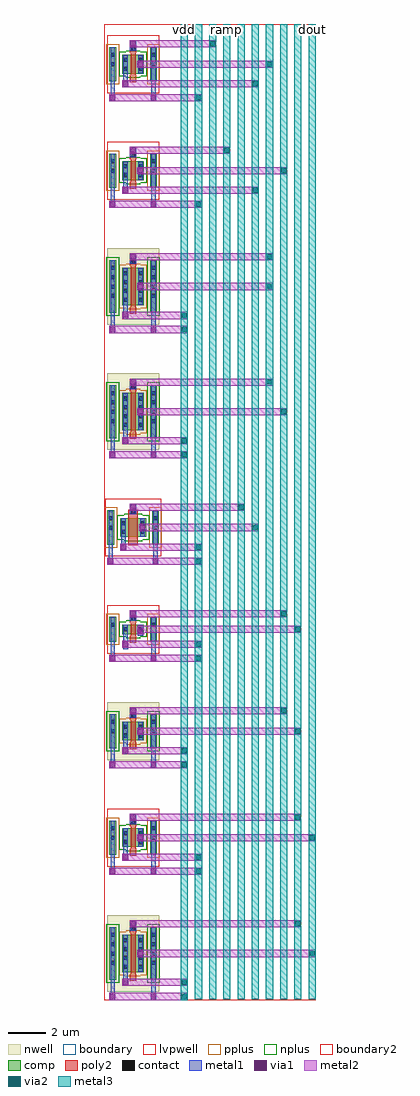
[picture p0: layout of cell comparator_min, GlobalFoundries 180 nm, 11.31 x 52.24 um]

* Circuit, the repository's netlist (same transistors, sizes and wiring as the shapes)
* Schematic-side reference for LVS of the minimum-size per-cell comparator.
.subckt comparator_min sample ramp bias dout vdd vss
XINP left sample tail vss nfet_03v3 L=0.28u W=1u nf=1 m=1
XINN outa ramp tail vss nfet_03v3 L=0.28u W=1u nf=1 m=1
XLOADD left left vdd vdd pfet_03v3 L=0.28u W=2u nf=1 m=1
XLOADM outa left vdd vdd pfet_03v3 L=0.28u W=2u nf=1 m=1
XTAIL tail bias vss vss nfet_03v3 L=0.5u W=1u nf=1 m=1
XBUF1 outb outa vss vss nfet_03v3 L=0.28u W=0.5u nf=1 m=1
XBUF2 outb outa vdd vdd pfet_03v3 L=0.28u W=1u nf=1 m=1
XBUF3 dout outb vss vss nfet_03v3 L=0.28u W=1u nf=1 m=1
XBUF4 dout outb vdd vdd pfet_03v3 L=0.28u W=2u nf=1 m=1
.ends comparator_min

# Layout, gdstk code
import gdstk
lib = gdstk.Library(unit=1e-6, precision=1e-09)
def R(c, l, rs):  # rectangles x0, y0, x1, y1
    for r in rs: c.add(gdstk.rectangle(r[:2], r[2:], *l))
def A(c, l, x, y, w, h, nx, ny, dx, dy):  # array of equal rectangles
    R(c, l, [(x+i*dx, y+j*dy, x+i*dx+w, y+j*dy+h) for i in range(nx) for j in range(ny)])
def P(c, l, *ps):  # polygons
    for p in ps: c.add(gdstk.Polygon(p, *l))
boundary = (0, 0)
nwell = (21, 0)
comp = (22, 0)
poly2 = (30, 0)
pplus = (31, 0)
nplus = (32, 0)
contact = (33, 0)
metal1 = (34, 0)
via1 = (35, 0)
metal2 = (36, 0)
via2 = (38, 0)
metal3 = (42, 0)
boundary2 = (63, 0)
lvpwell = (204, 0)

comparator_min = lib.new_cell('comparator_min')
R(comparator_min, boundary, [(0,0,11.31,52.24)])
R(comparator_min, nwell, [(0.15,0.44,2.93,4.54), (0.15,12.84,2.93,15.94), (0.15,29.44,2.93,33.54), (0.15,36.14,2.93,40.24)])
R(comparator_min, comp, [(0.27,1.075,0.63,3.905), (2.45,1.075,2.81,3.905), (0.96,1.49,2.12,3.49), (0.27,7.775,0.63,9.605), (2.45,7.775,2.81,9.605), (0.96,8.19,2.12,9.19), (0.27,13.475,0.63,15.305), (2.45,13.475,2.81,15.305), (0.96,13.89,2.12,14.89), (0.27,19.175,0.63,20.505), (2.45,19.175,2.81,20.505), (0.96,19.59,2.12,20.09), (0.16,24.375,0.52,26.205), (2.56,24.375,2.92,26.205), (0.85,24.79,2.23,25.79), (0.27,30.075,0.63,32.905), (2.45,30.075,2.81,32.905), (0.96,30.49,2.12,32.49), (0.27,36.775,0.63,39.605), (2.45,36.775,2.81,39.605), (0.96,37.19,2.12,39.19), (0.27,43.475,0.63,45.305), (2.45,43.475,2.81,45.305), (0.96,43.89,2.12,44.89), (0.27,49.175,0.63,51.005), (2.45,49.175,2.81,51.005), (0.96,49.59,2.12,50.59)])
P(comparator_min, poly2, [(1.36,1.03),(1.36,1.39),(1.4,1.39),(1.4,3.59),(1.36,3.59),(1.36,3.99),(1.72,3.99),(1.72,3.59),(1.68,3.59),(1.68,1.39),(1.72,1.39),(1.72,1.03)],
  [(1.36,7.73),(1.36,8.09),(1.4,8.09),(1.4,9.29),(1.36,9.29),(1.36,9.69),(1.72,9.69),(1.72,9.29),(1.68,9.29),(1.68,8.09),(1.72,8.09),(1.72,7.73)],
  [(1.36,13.43),(1.36,13.79),(1.4,13.79),(1.4,14.99),(1.36,14.99),(1.36,15.39),(1.72,15.39),(1.72,14.99),(1.68,14.99),(1.68,13.79),(1.72,13.79),(1.72,13.43)],
  [(1.36,19.13),(1.36,19.49),(1.4,19.49),(1.4,20.19),(1.36,20.19),(1.36,20.59),(1.72,20.59),(1.72,20.19),(1.68,20.19),(1.68,19.49),(1.72,19.49),(1.72,19.13)],
  [(1.29,24.33),(1.29,26.25),(1.36,26.25),(1.36,26.29),(1.72,26.29),(1.72,26.25),(1.79,26.25),(1.79,24.33)],
  [(1.36,30.03),(1.36,30.39),(1.4,30.39),(1.4,32.59),(1.36,32.59),(1.36,32.99),(1.72,32.99),(1.72,32.59),(1.68,32.59),(1.68,30.39),(1.72,30.39),(1.72,30.03)],
  [(1.36,36.73),(1.36,37.09),(1.4,37.09),(1.4,39.29),(1.36,39.29),(1.36,39.69),(1.72,39.69),(1.72,39.29),(1.68,39.29),(1.68,37.09),(1.72,37.09),(1.72,36.73)],
  [(1.36,43.43),(1.36,43.79),(1.4,43.79),(1.4,44.99),(1.36,44.99),(1.36,45.39),(1.72,45.39),(1.72,44.99),(1.68,44.99),(1.68,43.79),(1.72,43.79),(1.72,43.43)],
  [(1.36,49.13),(1.36,49.49),(1.4,49.49),(1.4,50.69),(1.36,50.69),(1.36,51.09),(1.72,51.09),(1.72,50.69),(1.68,50.69),(1.68,49.49),(1.72,49.49),(1.72,49.13)])
R(comparator_min, pplus, [(0.11,7.615,0.79,9.765), (2.29,7.615,2.97,9.765), (0.11,19.015,0.79,20.665), (2.29,19.015,2.97,20.665), (0,24.215,0.68,26.365), (2.4,24.215,3.08,26.365), (0.11,43.315,0.79,45.465), (2.29,43.315,2.97,45.465), (0.11,49.015,0.79,51.165), (2.29,49.015,2.97,51.165)])
P(comparator_min, pplus, [(1.17,1.26),(1.17,1.33),(0.8,1.33),(0.8,3.65),(1.17,3.65),(1.17,3.72),(1.91,3.72),(1.91,3.65),(2.28,3.65),(2.28,1.33),(1.91,1.33),(1.91,1.26)],
  [(1.17,13.66),(1.17,13.73),(0.8,13.73),(0.8,15.05),(1.17,15.05),(1.17,15.12),(1.91,15.12),(1.91,15.05),(2.28,15.05),(2.28,13.73),(1.91,13.73),(1.91,13.66)],
  [(1.17,30.26),(1.17,30.33),(0.8,30.33),(0.8,32.65),(1.17,32.65),(1.17,32.72),(1.91,32.72),(1.91,32.65),(2.28,32.65),(2.28,30.33),(1.91,30.33),(1.91,30.26)],
  [(1.17,36.96),(1.17,37.03),(0.8,37.03),(0.8,39.35),(1.17,39.35),(1.17,39.42),(1.91,39.42),(1.91,39.35),(2.28,39.35),(2.28,37.03),(1.91,37.03),(1.91,36.96)])
R(comparator_min, nplus, [(0.11,0.915,0.79,4.065), (2.29,0.915,2.97,4.065), (0.11,13.315,0.79,15.465), (2.29,13.315,2.97,15.465), (0.11,29.915,0.79,33.065), (2.29,29.915,2.97,33.065), (0.11,36.615,0.79,39.765), (2.29,36.615,2.97,39.765)])
P(comparator_min, nplus, [(1.17,7.96),(1.17,8.03),(0.8,8.03),(0.8,9.35),(1.17,9.35),(1.17,9.42),(1.91,9.42),(1.91,9.35),(2.28,9.35),(2.28,8.03),(1.91,8.03),(1.91,7.96)],
  [(1.17,19.36),(1.17,19.43),(0.8,19.43),(0.8,20.25),(1.17,20.25),(1.17,20.32),(1.91,20.32),(1.91,20.25),(2.28,20.25),(2.28,19.43),(1.91,19.43),(1.91,19.36)],
  [(1.06,24.56),(1.06,24.63),(0.69,24.63),(0.69,25.95),(1.06,25.95),(1.06,26.02),(2.02,26.02),(2.02,25.95),(2.39,25.95),(2.39,24.63),(2.02,24.63),(2.02,24.56)],
  [(1.17,43.66),(1.17,43.73),(0.8,43.73),(0.8,45.05),(1.17,45.05),(1.17,45.12),(1.91,45.12),(1.91,45.05),(2.28,45.05),(2.28,43.73),(1.91,43.73),(1.91,43.66)],
  [(1.17,49.36),(1.17,49.43),(0.8,49.43),(0.8,50.75),(1.17,50.75),(1.17,50.82),(1.91,50.82),(1.91,50.75),(2.28,50.75),(2.28,49.43),(1.91,49.43),(1.91,49.36)])
A(comparator_min, contact, 1.03, 1.675, 0.22, 0.22, 1, 4, 0, 0.47)
A(comparator_min, contact, 1.83, 1.675, 0.22, 0.22, 1, 4, 0, 0.47)
A(comparator_min, contact, 0.34, 1.875, 0.22, 0.22, 1, 4, 0, 0.5)
A(comparator_min, contact, 2.52, 1.875, 0.22, 0.22, 1, 4, 0, 0.5)
A(comparator_min, contact, 1.43, 3.7, 0.22, 0.22, 1, 3, 0, 5.7)
A(comparator_min, contact, 1.43, 26, 0.22, 0.22, 1, 3, 0, 6.7)
A(comparator_min, contact, 1.03, 30.675, 0.22, 0.22, 1, 4, 0, 0.47)
A(comparator_min, contact, 1.83, 30.675, 0.22, 0.22, 1, 4, 0, 0.47)
A(comparator_min, contact, 0.34, 30.875, 0.22, 0.22, 1, 4, 0, 0.5)
A(comparator_min, contact, 2.52, 30.875, 0.22, 0.22, 1, 4, 0, 0.5)
A(comparator_min, contact, 1.03, 37.375, 0.22, 0.22, 1, 4, 0, 0.47)
A(comparator_min, contact, 1.83, 37.375, 0.22, 0.22, 1, 4, 0, 0.47)
A(comparator_min, contact, 0.34, 37.575, 0.22, 0.22, 1, 4, 0, 0.5)
A(comparator_min, contact, 2.52, 37.575, 0.22, 0.22, 1, 4, 0, 0.5)
R(comparator_min, contact, [(1.03,8.345,1.25,8.565), (1.83,8.345,2.05,8.565), (0.34,8.575,0.56,8.795), (2.52,8.575,2.74,8.795), (1.03,8.815,1.25,9.035), (1.83,8.815,2.05,9.035), (0.34,9.075,0.56,9.295), (2.52,9.075,2.74,9.295), (1.03,14.045,1.25,14.265), (1.83,14.045,2.05,14.265), (0.34,14.275,0.56,14.495), (2.52,14.275,2.74,14.495), (1.03,14.515,1.25,14.735), (1.83,14.515,2.05,14.735), (0.34,14.775,0.56,14.995), (2.52,14.775,2.74,14.995), (1.03,19.73,1.25,19.95), (1.83,19.73,2.05,19.95), (0.34,19.975,0.56,20.195), (2.52,19.975,2.74,20.195), (1.43,20.3,1.65,20.52), (0.92,24.945,1.14,25.165), (1.94,24.945,2.16,25.165), (0.23,25.175,0.45,25.395), (2.63,25.175,2.85,25.395), (0.92,25.415,1.14,25.635), (1.94,25.415,2.16,25.635), (0.23,25.675,0.45,25.895), (2.63,25.675,2.85,25.895), (1.03,44.045,1.25,44.265), (1.83,44.045,2.05,44.265), (0.34,44.275,0.56,44.495), (2.52,44.275,2.74,44.495), (1.03,44.515,1.25,44.735), (1.83,44.515,2.05,44.735), (0.34,44.775,0.56,44.995), (2.52,44.775,2.74,44.995), (1.43,45.1,1.65,45.32), (1.03,49.745,1.25,49.965), (1.83,49.745,2.05,49.965), (0.34,49.975,0.56,50.195), (2.52,49.975,2.74,50.195), (1.03,50.215,1.25,50.435), (1.83,50.215,2.05,50.435), (0.34,50.475,0.56,50.695), (2.52,50.475,2.74,50.695), (1.43,50.8,1.65,51.02)])
P(comparator_min, metal1, [(1,0.75),(1,1.13),(1.025,1.13),(1.025,3.48),(1.255,3.48),(1.255,1.13),(1.28,1.13),(1.28,0.75)],
  [(1.825,1.5),(1.825,2.3),(1.8,2.3),(1.8,2.68),(1.825,2.68),(1.825,3.48),(2.055,3.48),(2.055,2.68),(2.08,2.68),(2.08,2.3),(2.055,2.3),(2.055,1.5)],
  [(0.31,0),(0.31,0.38),(0.335,0.38),(0.335,3.895),(0.565,3.895),(0.565,0.38),(0.59,0.38),(0.59,0)],
  [(2.49,0),(2.49,0.38),(2.515,0.38),(2.515,3.895),(2.745,3.895),(2.745,0.38),(2.77,0.38),(2.77,0)],
  [(1.37,3.695),(1.37,4.195),(1.4,4.195),(1.4,4.265),(1.68,4.265),(1.68,4.195),(1.71,4.195),(1.71,3.695)],
  [(1,7.45),(1,7.83),(1.025,7.83),(1.025,9.18),(1.255,9.18),(1.255,7.83),(1.28,7.83),(1.28,7.45)],
  [(1.825,8.2),(1.825,8.5),(1.8,8.5),(1.8,8.88),(1.825,8.88),(1.825,9.18),(2.055,9.18),(2.055,8.88),(2.08,8.88),(2.08,8.5),(2.055,8.5),(2.055,8.2)],
  [(0.31,6.7),(0.31,7.08),(0.335,7.08),(0.335,9.595),(0.565,9.595),(0.565,7.08),(0.59,7.08),(0.59,6.7)],
  [(2.49,6.7),(2.49,7.08),(2.515,7.08),(2.515,9.595),(2.745,9.595),(2.745,7.08),(2.77,7.08),(2.77,6.7)],
  [(1.37,9.395),(1.37,9.895),(1.4,9.895),(1.4,9.965),(1.68,9.965),(1.68,9.895),(1.71,9.895),(1.71,9.395)],
  [(1,13.15),(1,13.53),(1.025,13.53),(1.025,14.88),(1.255,14.88),(1.255,13.53),(1.28,13.53),(1.28,13.15)],
  [(1.825,13.9),(1.825,14.2),(1.8,14.2),(1.8,14.58),(1.825,14.58),(1.825,14.88),(2.055,14.88),(2.055,14.58),(2.08,14.58),(2.08,14.2),(2.055,14.2),(2.055,13.9)],
  [(0.31,12.4),(0.31,12.78),(0.335,12.78),(0.335,15.295),(0.565,15.295),(0.565,12.78),(0.59,12.78),(0.59,12.4)],
  [(2.49,12.4),(2.49,12.78),(2.515,12.78),(2.515,15.295),(2.745,15.295),(2.745,12.78),(2.77,12.78),(2.77,12.4)],
  [(1.37,15.095),(1.37,15.595),(1.4,15.595),(1.4,15.665),(1.68,15.665),(1.68,15.595),(1.71,15.595),(1.71,15.095)],
  [(1,18.77),(1,19.31),(1.025,19.31),(1.025,20.08),(1.255,20.08),(1.255,19.31),(1.28,19.31),(1.28,18.77)],
  [(1.8,19.49),(1.8,20.03),(1.825,20.03),(1.825,20.08),(2.055,20.08),(2.055,20.03),(2.08,20.03),(2.08,19.49)],
  [(0.31,18.1),(0.31,18.48),(0.335,18.48),(0.335,20.495),(0.565,20.495),(0.565,18.48),(0.59,18.48),(0.59,18.1)],
  [(2.49,18.1),(2.49,18.48),(2.515,18.48),(2.515,20.495),(2.745,20.495),(2.745,18.48),(2.77,18.48),(2.77,18.1)],
  [(1.37,20.295),(1.37,20.795),(1.4,20.795),(1.4,20.865),(1.68,20.865),(1.68,20.795),(1.71,20.795),(1.71,20.295)],
  [(0.89,24.05),(0.89,24.43),(0.915,24.43),(0.915,25.78),(1.145,25.78),(1.145,24.43),(1.17,24.43),(1.17,24.05)],
  [(1.935,24.8),(1.935,25.1),(1.91,25.1),(1.91,25.48),(1.935,25.48),(1.935,25.78),(2.165,25.78),(2.165,25.48),(2.19,25.48),(2.19,25.1),(2.165,25.1),(2.165,24.8)],
  [(0.2,23.3),(0.2,23.68),(0.225,23.68),(0.225,26.195),(0.455,26.195),(0.455,23.68),(0.48,23.68),(0.48,23.3)],
  [(2.6,23.3),(2.6,23.68),(2.625,23.68),(2.625,26.195),(2.855,26.195),(2.855,23.68),(2.88,23.68),(2.88,23.3)],
  [(1.37,25.995),(1.37,26.495),(1.4,26.495),(1.4,26.565),(1.68,26.565),(1.68,26.495),(1.71,26.495),(1.71,25.995)],
  [(1,29.75),(1,30.13),(1.025,30.13),(1.025,32.48),(1.255,32.48),(1.255,30.13),(1.28,30.13),(1.28,29.75)],
  [(1.825,30.5),(1.825,31.3),(1.8,31.3),(1.8,31.68),(1.825,31.68),(1.825,32.48),(2.055,32.48),(2.055,31.68),(2.08,31.68),(2.08,31.3),(2.055,31.3),(2.055,30.5)],
  [(0.31,29),(0.31,29.38),(0.335,29.38),(0.335,32.895),(0.565,32.895),(0.565,29.38),(0.59,29.38),(0.59,29)],
  [(2.49,29),(2.49,29.38),(2.515,29.38),(2.515,32.895),(2.745,32.895),(2.745,29.38),(2.77,29.38),(2.77,29)],
  [(1.37,32.695),(1.37,33.195),(1.4,33.195),(1.4,33.265),(1.68,33.265),(1.68,33.195),(1.71,33.195),(1.71,32.695)],
  [(1,36.45),(1,36.83),(1.025,36.83),(1.025,39.18),(1.255,39.18),(1.255,36.83),(1.28,36.83),(1.28,36.45)],
  [(1.825,37.2),(1.825,38),(1.8,38),(1.8,38.38),(1.825,38.38),(1.825,39.18),(2.055,39.18),(2.055,38.38),(2.08,38.38),(2.08,38),(2.055,38),(2.055,37.2)],
  [(0.31,35.7),(0.31,36.08),(0.335,36.08),(0.335,39.595),(0.565,39.595),(0.565,36.08),(0.59,36.08),(0.59,35.7)],
  [(2.49,35.7),(2.49,36.08),(2.515,36.08),(2.515,39.595),(2.745,39.595),(2.745,36.08),(2.77,36.08),(2.77,35.7)],
  [(1.37,39.395),(1.37,39.895),(1.4,39.895),(1.4,39.965),(1.68,39.965),(1.68,39.895),(1.71,39.895),(1.71,39.395)],
  [(1,43.15),(1,43.53),(1.025,43.53),(1.025,44.88),(1.255,44.88),(1.255,43.53),(1.28,43.53),(1.28,43.15)],
  [(1.825,43.9),(1.825,44.2),(1.8,44.2),(1.8,44.58),(1.825,44.58),(1.825,44.88),(2.055,44.88),(2.055,44.58),(2.08,44.58),(2.08,44.2),(2.055,44.2),(2.055,43.9)],
  [(0.31,42.4),(0.31,42.78),(0.335,42.78),(0.335,45.295),(0.565,45.295),(0.565,42.78),(0.59,42.78),(0.59,42.4)],
  [(2.49,42.4),(2.49,42.78),(2.515,42.78),(2.515,45.295),(2.745,45.295),(2.745,42.78),(2.77,42.78),(2.77,42.4)],
  [(1.37,45.095),(1.37,45.595),(1.4,45.595),(1.4,45.665),(1.68,45.665),(1.68,45.595),(1.71,45.595),(1.71,45.095)],
  [(1,48.85),(1,49.23),(1.025,49.23),(1.025,50.58),(1.255,50.58),(1.255,49.23),(1.28,49.23),(1.28,48.85)],
  [(1.825,49.6),(1.825,49.9),(1.8,49.9),(1.8,50.28),(1.825,50.28),(1.825,50.58),(2.055,50.58),(2.055,50.28),(2.08,50.28),(2.08,49.9),(2.055,49.9),(2.055,49.6)],
  [(0.31,48.1),(0.31,48.48),(0.335,48.48),(0.335,50.995),(0.565,50.995),(0.565,48.48),(0.59,48.48),(0.59,48.1)],
  [(2.49,48.1),(2.49,48.48),(2.515,48.48),(2.515,50.995),(2.745,50.995),(2.745,48.48),(2.77,48.48),(2.77,48.1)],
  [(1.37,50.795),(1.37,51.295),(1.4,51.295),(1.4,51.365),(1.68,51.365),(1.68,51.295),(1.71,51.295),(1.71,50.795)])
A(comparator_min, via1, 1.41, 3.945, 0.26, 0.26, 1, 3, 0, 5.7)
A(comparator_min, via1, 0.32, 6.76, 0.26, 0.26, 1, 3, 0, 5.7)
A(comparator_min, via1, 2.5, 6.76, 0.26, 0.26, 1, 3, 0, 5.7)
A(comparator_min, via1, 1.01, 7.51, 0.26, 0.26, 1, 3, 0, 5.7)
A(comparator_min, via1, 1.41, 26.245, 0.26, 0.26, 1, 3, 0, 6.7)
A(comparator_min, via1, 0.32, 29.06, 0.26, 0.26, 1, 3, 0, 6.7)
A(comparator_min, via1, 2.5, 29.06, 0.26, 0.26, 1, 3, 0, 6.7)
A(comparator_min, via1, 1.01, 29.81, 0.26, 0.26, 1, 3, 0, 6.7)
R(comparator_min, via1, [(0.32,0.06,0.58,0.32), (2.5,0.06,2.76,0.32), (1.01,0.81,1.27,1.07), (1.81,2.36,2.07,2.62), (1.81,8.56,2.07,8.82), (1.81,14.26,2.07,14.52), (1.81,19.63,2.07,19.89), (1.41,20.545,1.67,20.805), (0.21,23.36,0.47,23.62), (2.61,23.36,2.87,23.62), (0.9,24.11,1.16,24.37), (1.92,25.16,2.18,25.42), (1.81,31.36,2.07,31.62), (1.81,38.06,2.07,38.32), (1.81,44.26,2.07,44.52), (1.41,45.345,1.67,45.605), (0.32,48.16,0.58,48.42), (2.5,48.16,2.76,48.42), (1.01,48.91,1.27,49.17), (1.81,49.96,2.07,50.22), (1.41,51.045,1.67,51.305)])
R(comparator_min, metal2, [(0.26,0,4.47,0.38), (0.95,0.75,4.47,1.13), (1.75,2.3,11.31,2.68), (1.35,3.885,10.55,4.265), (0.26,6.7,5.23,7.08), (0.95,7.45,5.23,7.83), (1.75,8.5,11.31,8.88), (1.35,9.585,10.55,9.965), (0.26,12.4,4.47,12.78), (0.95,13.15,4.47,13.53), (1.75,14.2,10.55,14.58), (1.35,15.285,9.79,15.665), (0.26,18.1,5.23,18.48), (0.95,18.85,5.23,19.23), (1.35,20.485,9.79,20.865), (0.15,23.3,5.23,23.68), (0.84,24.05,5.23,24.43), (1.86,25.1,8.27,25.48), (1.35,26.185,7.51,26.565), (0.26,29,4.47,29.38), (0.95,29.75,4.47,30.13), (1.75,31.3,9.79,31.68), (1.35,32.885,9.03,33.265), (0.26,35.7,4.47,36.08), (0.95,36.45,4.47,36.83), (1.75,38,9.03,38.38), (1.35,39.585,9.03,39.965), (0.26,42.4,5.23,42.78), (0.95,43.15,8.27,43.53), (1.75,44.2,9.79,44.58), (1.35,45.285,6.75,45.665), (0.26,48.1,5.23,48.48), (0.95,48.85,8.27,49.23), (1.75,49.9,9.03,50.28), (1.35,50.985,5.99,51.365)])
P(comparator_min, metal2, [(1.75,19.57),(1.75,20.03),(10.55,20.03),(10.55,19.65),(2.13,19.65),(2.13,19.57)])
R(comparator_min, via2, [(4.15,0.06,4.41,0.32), (4.15,0.81,4.41,1.07), (10.99,2.36,11.25,2.62), (10.23,3.945,10.49,4.205), (4.91,6.76,5.17,7.02), (4.91,7.51,5.17,7.77), (10.99,8.56,11.25,8.82), (10.23,9.645,10.49,9.905), (4.15,12.46,4.41,12.72), (4.15,13.21,4.41,13.47), (10.23,14.26,10.49,14.52), (9.47,15.345,9.73,15.605), (4.91,18.16,5.17,18.42), (4.91,18.91,5.17,19.17), (10.23,19.71,10.49,19.97), (9.47,20.545,9.73,20.805), (4.91,23.36,5.17,23.62), (4.91,24.11,5.17,24.37), (7.95,25.16,8.21,25.42), (7.19,26.245,7.45,26.505), (4.15,29.06,4.41,29.32), (4.15,29.81,4.41,30.07), (9.47,31.36,9.73,31.62), (8.71,32.945,8.97,33.205), (4.15,35.76,4.41,36.02), (4.15,36.51,4.41,36.77), (8.71,38.06,8.97,38.32), (8.71,39.645,8.97,39.905), (4.91,42.46,5.17,42.72), (7.95,43.21,8.21,43.47), (9.47,44.26,9.73,44.52), (6.43,45.345,6.69,45.605), (4.91,48.16,5.17,48.42), (7.95,48.91,8.21,49.17), (8.71,49.96,8.97,50.22), (5.67,51.045,5.93,51.305)])
A(comparator_min, metal3, 4.85, 0.04, 0.38, 52.2, 9, 1, 0.76, 0)
R(comparator_min, metal3, [(4.09,0,4.47,52.24)])
R(comparator_min, boundary2, [(0,0,11.31,52.24)])
R(comparator_min, lvpwell, [(0.15,7.14,2.93,10.24), (0.15,18.54,2.93,21.14), (0.04,23.74,3.04,26.84), (0.15,42.84,2.93,45.94), (0.15,48.54,2.93,51.64)])
comparator_min.add(gdstk.Label('vdd', (4.28,51.94), layer=42, texttype=10))
comparator_min.add(gdstk.Label('vss', (5.04,51.94), layer=42, texttype=10))
comparator_min.add(gdstk.Label('sample', (5.8,51.94), layer=42, texttype=10))
comparator_min.add(gdstk.Label('ramp', (6.56,51.94), layer=42, texttype=10))
comparator_min.add(gdstk.Label('bias', (7.32,51.94), layer=42, texttype=10))
comparator_min.add(gdstk.Label('dout', (11.12,51.94), layer=42, texttype=10))

lib.write_gds('comparator_min.gds')
